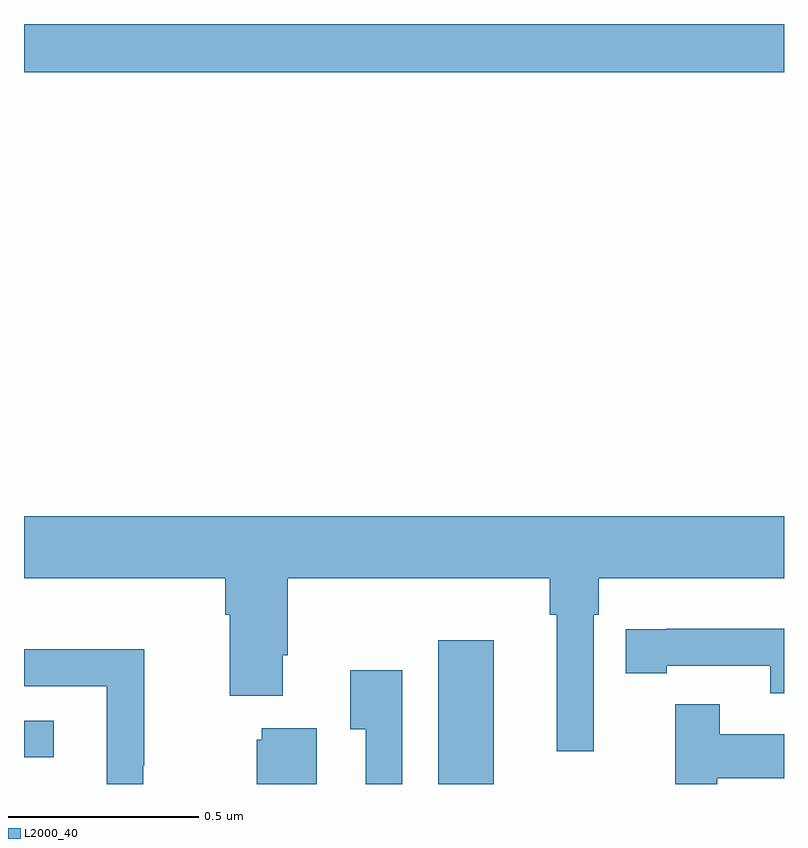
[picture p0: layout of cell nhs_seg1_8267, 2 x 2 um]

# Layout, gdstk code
import gdstk
lib = gdstk.Library(unit=1e-6, precision=1e-09)
def R(c, l, rs):  # rectangles x0, y0, x1, y1
    for r in rs: c.add(gdstk.rectangle(r[:2], r[2:], *l))
def P(c, l, *ps):  # polygons
    for p in ps: c.add(gdstk.Polygon(p, *l))
L2000_40 = (2000, 40)

nhs_seg1_8267 = lib.new_cell('nhs_seg1_8267')
R(nhs_seg1_8267, L2000_40, [(215.09,543.199,215.236,543.577), (214,543.27,214.078,543.366), (214,545.072,216,545.199)])
P(nhs_seg1_8267, L2000_40, [(215.499,543.644),(215.513,543.644),(215.513,543.74),(216,543.74),(216,543.904),(214,543.904),(214,543.74),(214.529,543.74),(214.529,543.644),(214.541,543.644),(214.541,543.431),(214.681,543.431),(214.681,543.538),(214.694,543.538),(214.694,543.74),(215.383,543.74),(215.383,543.644),(215.402,543.644),(215.402,543.285),(215.499,543.285)],
  [(216,543.607),(215.692,543.607),(215.692,543.606),(215.584,543.606),(215.584,543.49),(215.692,543.49),(215.692,543.51),(215.964,543.51),(215.964,543.438),(216,543.438)],
  [(214.314,543.247),(214.317,543.247),(214.317,543.554),(214,543.554),(214,543.456),(214.218,543.456),(214.218,543.199),(214.314,543.199)],
  [(214.995,543.499),(214.859,543.499),(214.859,543.343),(214.899,543.343),(214.899,543.199),(214.995,543.199)],
  [(215.824,543.214),(216,543.214),(216,543.33),(215.831,543.33),(215.831,543.409),(215.714,543.409),(215.714,543.199),(215.824,543.199)],
  [(214.771,543.346),(214.625,543.346),(214.625,543.315),(214.613,543.315),(214.613,543.199),(214.771,543.199)])

lib.write_gds('nhs_seg1_8267.gds')
